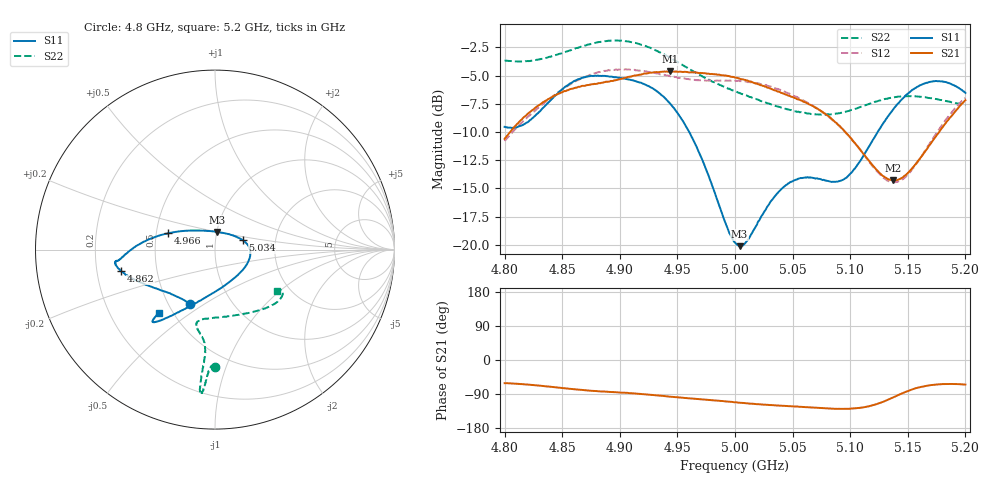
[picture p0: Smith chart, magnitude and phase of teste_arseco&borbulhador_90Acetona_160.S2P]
! Network Analyzer HP8722D
! Hewlett-Packard
! Data name: Linha & Wilkinson
! Saver's name: Rodrigo Anjos
! Comments: Teste da utilização de aquisição
! continua pelo VNA HP8722D
! Time and date: 17/4/2025 12:23
!  Frequency  S11  S21  S12  S22
# HZ  S  MA R 50
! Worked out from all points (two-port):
!   401 points, 4.8 GHz to 5.2 GHz, reference 50 ohm
!   highest |S21| = -4.62 dB at 4.944 GHz (marker M1); lowest = -14.3 dB at 5.137 GHz (marker M2)
!   |S21| within 3 dB of the highest: 4.83 GHz to 5.066 GHz (236.1 MHz wide, 4.77 % of centre); 5.195873 GHz to end of sweep
!   lowest |S11| = -20.1 dB at 5.004 GHz (marker M3), VSWR 1.22, Z = 50.2 + j9.94 ohm
!   |S11| at or under -10 dB: 4.96 GHz to 5.124 GHz (163.6 MHz wide, 3.24 % of centre)
!   |S22| runs from -8.5 to -1.9 dB; largest |S21 - S12| = 0.88
!   S11 on the Smith chart (normalised r, x): 4.8 GHz: 0.64, -0.44; 4.862 GHz: 0.31, -0.10; 4.966 GHz: 0.58, +0.11; 5.034 GHz: 1.35, +0.15; 5.2 GHz: 0.42, -0.38
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4.8e9  0.3333 -114.4  0.295 -61.2  0.2887 -175.5  0.6561 -90.1
4.819e9  0.3478 -134.5  0.3758 -64.6  0.3641 -174.3  0.6517 -91.7
4.862e9  0.5357 -167.0  0.497 -77.7  0.5313 -177.5  0.7447 -94.1
4.867e9  0.5487 -169.0  0.506 -79.3  0.5471 -178.4  0.7566 -94.3
4.901e9  0.5488 -173.4  0.5441 -85.8  0.5982 174.8  0.8036 -95.8
4.934e9  0.4716 -179.6  0.5824 -93.9  0.5725 171.5  0.7147 -96.1
4.944e9  0.4211 175.8  0.5878 -96.8  0.558 171.5  0.6733 -95.9
4.966e9  0.276 160.8  0.5803 -102.4  0.5368 173.4  0.5782 -95.4
4.993e9  0.1202 118.9  0.5609 -109.6  0.5341 175.7  0.4951 -98.2
5e9  0.1025 97.2  0.5509 -111.6  0.5335 175.8  0.4792 -99.6
5.004e9  0.09874 83.1  0.5448 -112.7  0.5314 175.8  0.471 -100.5
5.011e9  0.1051 60.4  0.5345 -114.7  0.526 175.5  0.4566 -102.1
5.034e9  0.1629 19.1  0.4843 -119.6  0.4967 174.3  0.4144 -103.9
5.049e9  0.1907 4.1  0.4525 -122.2  0.4625 173.9  0.3951 -100.2
5.067e9  0.1984 -15.1  0.4134 -125.4  0.416 173.2  0.3798 -90.7
5.097e9  0.199 -68.0  0.3107 -128.9  0.3108 174.5  0.3904 -67.2
5.134e9  0.3785 -117.8  0.1945 -103.4  0.1912 -156.3  0.4469 -43.2
5.137e9  0.3958 -119.6  0.1929 -99.3  0.1893 -151.5  0.45 -41.9
5.15e9  0.4672 -125.4  0.208 -82.0  0.2049 -131.6  0.4554 -36.9
5.168e9  0.5252 -129.7  0.2729 -67.4  0.2761 -113.7  0.4474 -32.6
5.184e9  0.5242 -131.3  0.3529 -63.4  0.364 -107.6  0.4332 -31.4
5.2e9  0.4711 -131.7  0.4374 -64.8  0.4483 -107.0  0.4158 -33.7
